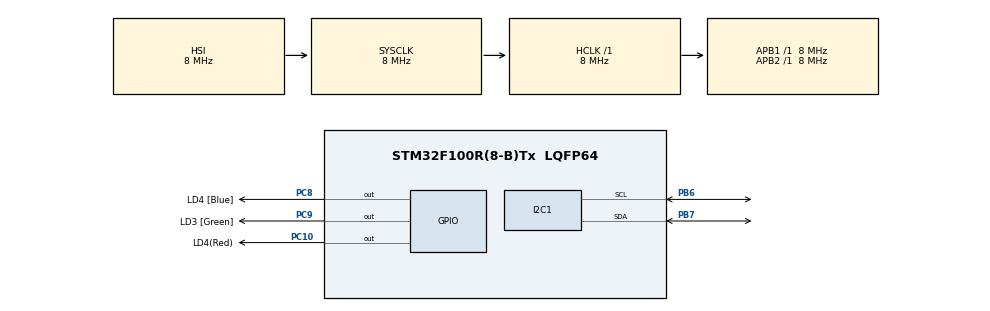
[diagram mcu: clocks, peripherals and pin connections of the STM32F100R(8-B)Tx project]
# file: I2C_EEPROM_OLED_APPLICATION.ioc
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I2C1.I2C_Mode=I2C_Fast
Mcu.Family=STM32F1
Mcu.Name=STM32F100R(8-B)Tx
Mcu.Package=LQFP64
NVIC.PriorityGroup=NVIC_PRIORITYGROUP_4
PA0-WKUP.Mode=SYS_WakeUp0
PA0-WKUP.Signal=SYS_WKUP
PA13.GPIO_Label=TMS_SWDIO
PA13.Mode=Serial_Wire
PA13.Signal=SYS_JTMS-SWDIO
PA14.GPIO_Label=TCK_SWCLK
PA14.Mode=Serial_Wire
PA14.Signal=SYS_JTCK-SWCLK
PB6.Mode=I2C
PB6.Signal=I2C1_SCL
PB7.Mode=I2C
PB7.Signal=I2C1_SDA
PC10.GPIO_Label=LD4(Red)
PC10.Signal=GPIO_Output
PC14-OSC32_IN.Mode=LSE-External-Oscillator
PC14-OSC32_IN.Signal=RCC_OSC32_IN
PC15-OSC32_OUT.Mode=LSE-External-Oscillator
PC15-OSC32_OUT.Signal=RCC_OSC32_OUT
PC8.GPIO_Label=LD4 [Blue]
PC8.Signal=GPIO_Output
PC9.GPIO_Label=LD3 [Green]
PC9.Signal=GPIO_Output
PD0-OSC_IN.Mode=HSE-External-Oscillator
PD0-OSC_IN.Signal=RCC_OSC_IN
PD1-OSC_OUT.Mode=HSE-External-Oscillator
PD1-OSC_OUT.Signal=RCC_OSC_OUT
ProjectManager.HeapSize=0x200
ProjectManager.StackSize=0x400
ProjectManager.TargetToolchain=STM32CubeIDE
RCC.AHBFreq_Value=8000000
RCC.APB1Freq_Value=8000000
RCC.APB1TimFreq_Value=8000000
RCC.APB2Freq_Value=8000000
RCC.APB2TimFreq_Value=8000000
RCC.HCLKFreq_Value=8000000
RCC.PLLMUL=RCC_PLL_MUL6
RCC.SYSCLKFreq_VALUE=8000000
board=STM32VLDISCOVERY

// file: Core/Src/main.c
/* USER CODE BEGIN Header */
/**
  ******************************************************************************
  * @file           : main.c
  * @brief          : Main program body
  ******************************************************************************
  * @attention
  *
  * Copyright (c) 2022 STMicroelectronics.
  * All rights reserved.
  *
  * This software is licensed under terms that can be found in the LICENSE file
  * in the root directory of this software component.
  * If no LICENSE file comes with this software, it is provided AS-IS.
  *
  ******************************************************************************
  */
/* USER CODE END Header */
#include "main.h"

/* USER CODE BEGIN Includes */

#include "EEPROM.h"
#include "ssd1306.h"
#include "test.h"
#include "fonts.h"

#include <stdio.h>
#include <string.h>

/* USER CODE END Includes */

/* USER CODE BEGIN PD */

#define DEV_ADDR 0xa0

/* USER CODE END PD */

I2C_HandleTypeDef hi2c1;

/* USER CODE BEGIN PV */

char data_char[20];

/* USER CODE END PV */

void SystemClock_Config(void);
static void MX_GPIO_Init(void);
static void MX_I2C1_Init(void);
/* USER CODE BEGIN PFP */

void display_data(float dataNum);

/* USER CODE END PFP */

/* USER CODE BEGIN 0 */

uint8_t dataw1[] = "Hello! Its Lutfullah";
uint8_t dataw2[] = "Second *str EEPROM ";
float dataw3 = 1997.2011;

uint8_t datar1[100];
uint8_t datar2[100];
float datar3;

/* USER CODE END 0 */

int main(void)
{

  /* MCU Configuration--------------------------------------------------------*/

  /* Reset of all peripherals, Initializes the Flash interface and the Systick. */
  HAL_Init();

  /* Configure the system clock */
  SystemClock_Config();

  /* Initialize all configured peripherals */
  MX_GPIO_Init();
  MX_I2C1_Init();
  /* USER CODE BEGIN 2 */

  SSD1306_Init();

  SSD1306_GotoXY (0, 0);
  SSD1306_Puts ("Initializing...", &Font_7x10, 1);
  SSD1306_UpdateScreen ();  // update display

  HAL_GPIO_WritePin(GPIOC, GPIO_PIN_10, GPIO_PIN_SET);
  HAL_Delay(500);
  HAL_GPIO_WritePin(GPIOC, GPIO_PIN_10, GPIO_PIN_RESET);

  for (int i=0; i<512; i++)
  {
	  EEPROM_PageErase(i);
  }

  EEPROM_Write(3, 0, dataw1, strlen((char *)dataw1));

  EEPROM_Write(5, 20, dataw2, strlen((char *)dataw2));

  EEPROM_Write_NUM (6, 0, dataw3);

  EEPROM_Read(3, 0, datar1, 50);

  EEPROM_Read(5, 20, datar2, 50);

  datar3 = EEPROM_Read_NUM (6, 0);

//  datar4 = EEPROM_Read_NUM (25, 15);

	SSD1306_Clear();

	SSD1306_GotoXY(1, 10);
	SSD1306_Puts("datar3:", &Font_7x10, 1);
	SSD1306_GotoXY(48, 10);
	display_data(datar3);

//	SSD1306_UpdateScreen();

//	SSD1306_ScrollRight(1, 10);

//	HAL_Delay(2000);
//////////////////

	SSD1306_GotoXY(1, 25);
	SSD1306_Puts((char*)datar1, &Font_7x10, 1);

//	SSD1306_UpdateScreen();

//	SSD1306_ScrollRight(1, 10);

//	HAL_Delay(2000);
///////////////

	SSD1306_GotoXY(1, 40);
	SSD1306_Puts((char*)datar2, &Font_7x10, 1);

	SSD1306_UpdateScreen();

	SSD1306_ScrollLeft(1, 8);

  /* USER CODE END 2 */

  /* Infinite loop */
  while (1)
  {

    /* USER CODE BEGIN 3 */

//		SSD1306_Clear();
//
//		SSD1306_GotoXY(1, 10);
//		SSD1306_Puts("datar3: ", &Font_7x10, 1);
//		SSD1306_GotoXY(48, 10);
//		//SSD1306_Puts(datar3, &Font_7x10, 1);
//		display_data(datar3);
//		SSD1306_ScrollRight(1, 10);

//		SSD1306_GotoXY(10, 52);
//		SSD1306_Puts("TEMP: ", &Font_7x10, 1);
//		SSD1306_GotoXY(48, 45);
//		//sprintf(adc_char,"%0.2f", temperature);
//		//SSD1306_Puts(adc_char, &Font_11x18, 1);

		//SSD1306_ScrollRight(5, 50);

		//SSD1306_UpdateScreen();

		//HAL_Delay(500);
  }
  /* USER CODE END 3 */
}

void SystemClock_Config(void)
{
  RCC_OscInitTypeDef RCC_OscInitStruct = {0};
  RCC_ClkInitTypeDef RCC_ClkInitStruct = {0};

  /** Initializes the RCC Oscillators according to the specified parameters
  * in the RCC_OscInitTypeDef structure.
  */
  RCC_OscInitStruct.OscillatorType = RCC_OSCILLATORTYPE_HSI;
  RCC_OscInitStruct.HSIState = RCC_HSI_ON;
  RCC_OscInitStruct.HSICalibrationValue = RCC_HSICALIBRATION_DEFAULT;
  RCC_OscInitStruct.PLL.PLLState = RCC_PLL_NONE;
  if (HAL_RCC_OscConfig(&RCC_OscInitStruct) != HAL_OK)
  {
    Error_Handler();
  }

  /** Initializes the CPU, AHB and APB buses clocks
  */
  RCC_ClkInitStruct.ClockType = RCC_CLOCKTYPE_HCLK|RCC_CLOCKTYPE_SYSCLK
                              |RCC_CLOCKTYPE_PCLK1|RCC_CLOCKTYPE_PCLK2;
  RCC_ClkInitStruct.SYSCLKSource = RCC_SYSCLKSOURCE_HSI;
  RCC_ClkInitStruct.AHBCLKDivider = RCC_SYSCLK_DIV1;
  RCC_ClkInitStruct.APB1CLKDivider = RCC_HCLK_DIV1;
  RCC_ClkInitStruct.APB2CLKDivider = RCC_HCLK_DIV1;

  if (HAL_RCC_ClockConfig(&RCC_ClkInitStruct, FLASH_LATENCY_0) != HAL_OK)
  {
    Error_Handler();
  }
}

static void MX_I2C1_Init(void)
{

  hi2c1.Instance = I2C1;
  hi2c1.Init.ClockSpeed = 400000;
  hi2c1.Init.DutyCycle = I2C_DUTYCYCLE_2;
  hi2c1.Init.OwnAddress1 = 0;
  hi2c1.Init.AddressingMode = I2C_ADDRESSINGMODE_7BIT;
  hi2c1.Init.DualAddressMode = I2C_DUALADDRESS_DISABLE;
  hi2c1.Init.OwnAddress2 = 0;
  hi2c1.Init.GeneralCallMode = I2C_GENERALCALL_DISABLE;
  hi2c1.Init.NoStretchMode = I2C_NOSTRETCH_DISABLE;
  if (HAL_I2C_Init(&hi2c1) != HAL_OK)
  {
    Error_Handler();
  }

}

static void MX_GPIO_Init(void)
{
  GPIO_InitTypeDef GPIO_InitStruct = {0};

  /* GPIO Ports Clock Enable */
  __HAL_RCC_GPIOC_CLK_ENABLE();
  __HAL_RCC_GPIOD_CLK_ENABLE();
  __HAL_RCC_GPIOA_CLK_ENABLE();
  __HAL_RCC_GPIOB_CLK_ENABLE();

  /*Configure GPIO pin Output Level */
  HAL_GPIO_WritePin(GPIOC, LD4_Pin|LD3_Pin|LD4C10_Pin, GPIO_PIN_RESET);

  /*Configure GPIO pins : LD4_Pin LD3_Pin LD4C10_Pin */
  GPIO_InitStruct.Pin = LD4_Pin|LD3_Pin|LD4C10_Pin;
  GPIO_InitStruct.Mode = GPIO_MODE_OUTPUT_PP;
  GPIO_InitStruct.Pull = GPIO_NOPULL;
  GPIO_InitStruct.Speed = GPIO_SPEED_FREQ_LOW;
  HAL_GPIO_Init(GPIOC, &GPIO_InitStruct);

}

/* USER CODE BEGIN 4 */

void display_data(float dataNum)
{
	sprintf(data_char,"%0.4f", dataNum);
	SSD1306_Puts(data_char, &Font_7x10, 1);
	//SSD1306_UpdateScreen();
}

/* USER CODE END 4 */

void Error_Handler(void)
{
  __disable_irq();
  while (1)
  {
  }
}
